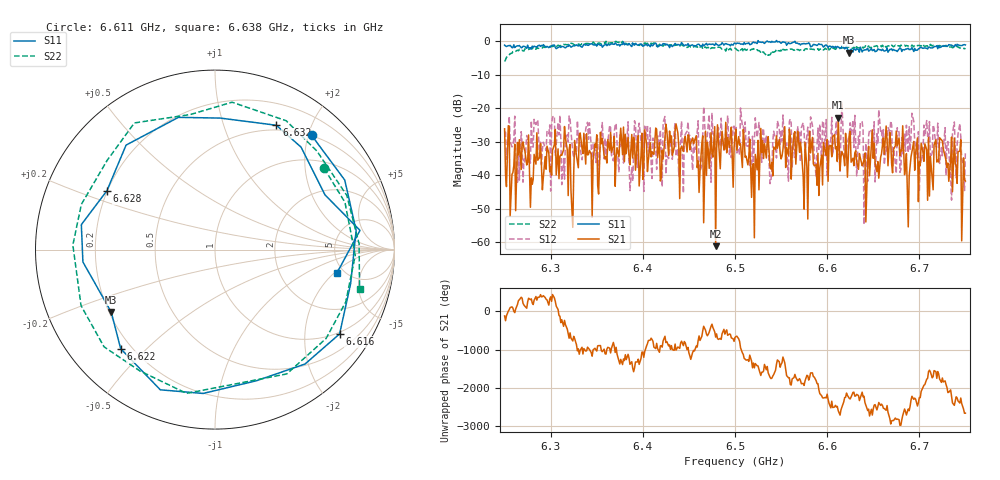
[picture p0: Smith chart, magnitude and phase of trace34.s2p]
# Hz S RI R 50
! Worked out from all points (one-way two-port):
!   401 points, 6.25 GHz to 6.75 GHz, reference 50 ohm
!   highest |S21| = -22.87 dB at 6.612 GHz (marker M1); lowest = -61.2 dB at 6.479 GHz (marker M2)
!   lowest |S11| = -3.4 dB at 6.624 GHz (marker M3), VSWR 5.15, Z = 10.4 - j13.3 ohm
!   |S11| at or under -10 dB: nowhere
!   |S22| runs from -6.1 to 0.0 dB; largest |S21 - S12| = 0.11
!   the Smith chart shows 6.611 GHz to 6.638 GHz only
!   S11 on the Smith chart (normalised r, x): 6.611 GHz: 0.49, +2.06; 6.616 GHz: 0.95, -2.99; 6.622 GHz: 0.16, -0.42; 6.628 GHz: 0.20, +0.25; 6.632 GHz: 0.44, +1.52; 6.638 GHz: 4.37, -2.17
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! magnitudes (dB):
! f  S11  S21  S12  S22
! 6.25 GHz  -1.2  -26.1  -27.0  -6.1
! 6.28 GHz  -1.5  -42.7  -31.4  -2.3
! 6.315 GHz  -1.9  -25.5  -41.2  -1.1
! 6.321 GHz  -1.4  -30.8  -23.1  -1.0
! 6.334 GHz  -1.8  -32.0  -35.4  -0.7
! 6.418 GHz  -1.4  -30.3  -31.4  -1.0
! 6.479 GHz  -0.6  -61.2  -35.2  -2.1
! 6.5 GHz  -0.6  -28.2  -29.6  -2.1
! 6.52 GHz  -0.3  -36.5  -38.7  -2.2
! 6.53 GHz  -0.3  -29.7  -26.1  -3.3
! 6.576 GHz  -0.8  -30.2  -33.2  -2.3
! 6.584 GHz  -1.4  -28.7  -25.0  -2.4
! 6.611 GHz  -1.6  -35.9  -30.1  -2.4
! 6.612 GHz  -1.7  -22.9  -31.0  -2.3
! 6.616 GHz  -1.5  -32.9  -18.2  -2.0
! 6.622 GHz  -2.4  -40.6  -30.1  -1.7
! 6.624 GHz  -3.4  -27.9  -28.0  -1.8
! 6.628 GHz  -3.3  -34.9  -23.6  -2.2
! 6.632 GHz  -2.2  -35.9  -40.2  -1.7
! 6.638 GHz  -3.2  -37.2  -24.0  -1.6
! 6.668 GHz  -2.4  -27.2  -26.9  -1.5
! 6.75 GHz  -1.1  -41.7  -33.1  -2.4
